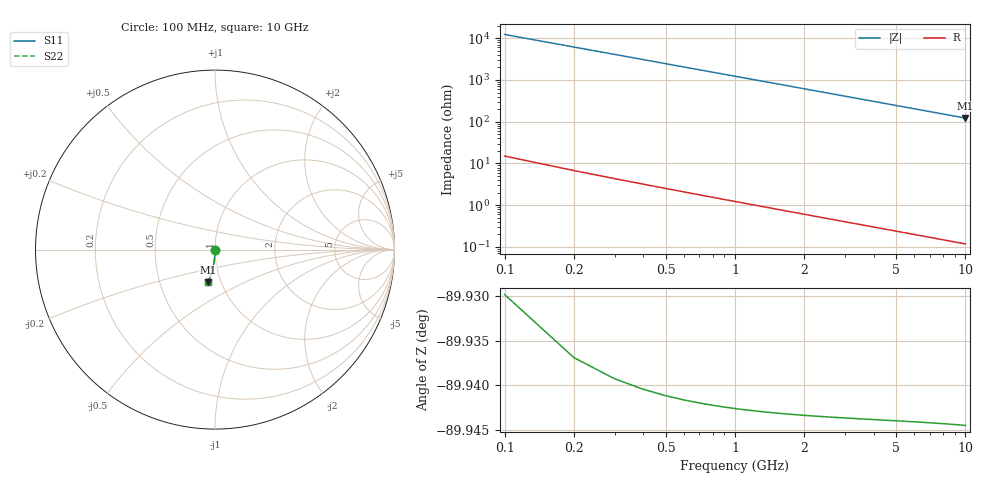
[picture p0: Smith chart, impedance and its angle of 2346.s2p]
# Hz S RI R 50.00
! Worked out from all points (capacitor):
!   100 points, 100 MHz to 10 GHz, reference 50 ohm
!   read as one part in shunt: C = 130 fF near 100 MHz
!   lowest |Z| = 122 ohm at 10 GHz (marker M1)
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1e8  6.48e-05 -0.00189  0.9999 -0.00218  0.9999 -0.00218  6.48e-05 -0.00189
2e8  5.09e-05 -0.00379  0.9999 -0.00436  0.9999 -0.00436  5.09e-05 -0.00379
3e8  2.86e-05 -0.00568  0.9999 -0.00655  0.9999 -0.00655  2.86e-05 -0.00568
4e8  -2.05e-06 -0.00757  0.9999 -0.00873  0.9999 -0.00873  -2.05e-06 -0.00757
5e8  -4.1e-05 -0.00947  0.9998 -0.0109  0.9998 -0.0109  -4.1e-05 -0.00947
6e8  -8.82e-05 -0.0114  0.9998 -0.0131  0.9998 -0.0131  -8.82e-05 -0.0114
7e8  -0.000144 -0.0133  0.9997 -0.0153  0.9997 -0.0153  -0.000144 -0.0133
8e8  -0.000207 -0.0151  0.9996 -0.0175  0.9996 -0.0175  -0.000207 -0.0151
9e8  -0.000279 -0.017  0.9996 -0.0196  0.9996 -0.0196  -0.000279 -0.017
1.1e9  -0.000448 -0.0208  0.9994 -0.024  0.9994 -0.024  -0.000448 -0.0208
1.4e9  -0.000764 -0.0265  0.9991 -0.0305  0.9991 -0.0305  -0.000764 -0.0265
1.8e9  -0.0013 -0.034  0.9985 -0.0393  0.9985 -0.0393  -0.0013 -0.034
2.1e9  -0.00179 -0.0397  0.998 -0.0458  0.998 -0.0458  -0.00179 -0.0397
2.5e9  -0.00256 -0.0472  0.9973 -0.0545  0.9973 -0.0545  -0.00256 -0.0472
2.9e9  -0.00345 -0.0548  0.9964 -0.0632  0.9964 -0.0632  -0.00345 -0.0548
3.4e9  -0.00476 -0.0641  0.995 -0.074  0.995 -0.074  -0.00476 -0.0641
4.2e9  -0.00728 -0.0791  0.9925 -0.0912  0.9925 -0.0912  -0.00728 -0.0791
5.1e9  -0.0107 -0.0957  0.989 -0.1105  0.989 -0.1105  -0.0107 -0.0957
5.9e9  -0.0143 -0.1104  0.9854 -0.1275  0.9854 -0.1275  -0.0143 -0.1104
6.7e9  -0.0184 -0.1249  0.9812 -0.1444  0.9812 -0.1444  -0.0184 -0.1249
8.4e9  -0.0288 -0.1551  0.9708 -0.1795  0.9708 -0.1795  -0.0288 -0.1551
1e10  -0.0404 -0.1825  0.959 -0.2117  0.959 -0.2117  -0.0404 -0.1825
